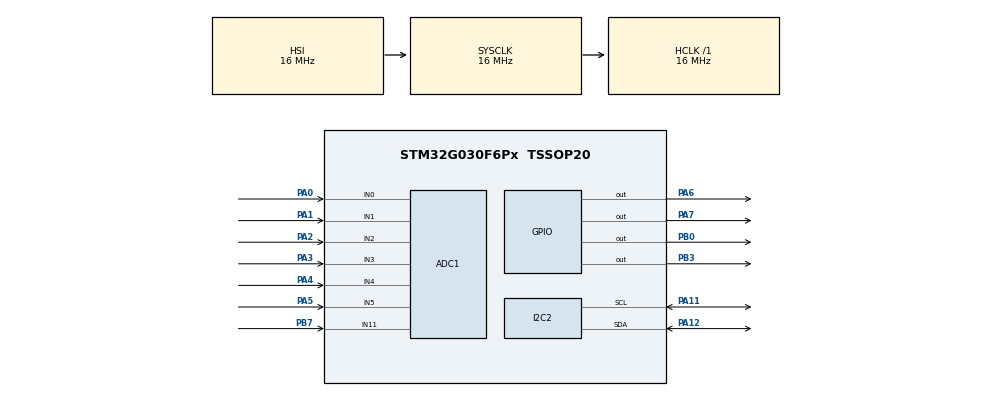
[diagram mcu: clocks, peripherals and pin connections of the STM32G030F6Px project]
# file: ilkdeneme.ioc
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ADC1.Channel-0\#ChannelRegularConversion=ADC_CHANNEL_4
ADC1.NbrOfConversionFlag=1
ADC1.Rank-0\#ChannelRegularConversion=1
ADC1.SamplingTime-0\#ChannelRegularConversion=ADC_SAMPLINGTIME_COMMON_1
ADC1.SelectedChannel=ADC_CHANNEL_0|ADC_CHANNEL_1|ADC_CHANNEL_2|ADC_CHANNEL_3|ADC_CHANNEL_4|ADC_CHANNEL_5|ADC_CHANNEL_11
ADC1.master=1
Mcu.Family=STM32G0
Mcu.Name=STM32G030F6Px
Mcu.Package=TSSOP20
PA0.Mode=IN0
PA0.Signal=ADC1_IN0
PA1.Mode=IN1
PA1.Signal=ADC1_IN1
PA11\ [PA9].Mode=I2C
PA11\ [PA9].Signal=I2C2_SCL
PA12\ [PA10].Mode=I2C
PA12\ [PA10].Signal=I2C2_SDA
PA13.Mode=Serial_Wire
PA13.Signal=SYS_SWDIO
PA14-BOOT0.Mode=Serial_Wire
PA14-BOOT0.Signal=SYS_SWCLK
PA14-BOOT0__PA15.StandardMode=true
PA2.Mode=IN2
PA2.Signal=ADC1_IN2
PA3.Mode=IN3
PA3.Signal=ADC1_IN3
PA4.Signal=SharedAnalog_PA4
PA5.Mode=IN5
PA5.Signal=ADC1_IN5
PA6.Signal=GPIO_Output
PA7.Signal=GPIO_Output
PB0.Signal=GPIO_Output
PB0__PB1__PB2__PA8.StandardMode=true
PB3.Signal=GPIO_Output
PB3__PB4__PB5__PB6.StandardMode=true
PB7.Mode=IN11
PB7.Signal=ADC1_IN11
PB7__PB8.StandardMode=true
PC14-OSC32_IN\ (PC14)__PB9.StandardMode=true
ProjectManager.HeapSize=0x200
ProjectManager.StackSize=0x400
ProjectManager.TargetToolchain=STM32CubeIDE
RCC.AHBFreq_Value=16000000
RCC.CortexFreq_Value=16000000
RCC.EXTERNAL_CLOCK_VALUE=12288000
RCC.HCLKFreq_Value=16000000
RCC.HSE_VALUE=8000000
RCC.HSI_VALUE=16000000
RCC.LSE_VALUE=32768
RCC.SYSCLKFreq_VALUE=16000000
RCC.VCOOutputFreq_Value=128000000
SH.SharedAnalog_PA4.0=GPIO_Analog
SH.SharedAnalog_PA4.1=ADC1_IN4,IN4
board=custom

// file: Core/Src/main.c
/* USER CODE BEGIN Header */
/* USER CODE END Header */
#include "main.h"

/* USER CODE BEGIN Includes */
#include <stdio.h>
/* USER CODE END Includes */

ADC_HandleTypeDef hadc1;

I2C_HandleTypeDef hi2c2;

void SystemClock_Config(void);
static void MX_GPIO_Init(void);
static void MX_ADC1_Init(void);
static void MX_I2C2_Init(void);
/* USER CODE BEGIN PFP */
static uint8_t adc_read_channel(uint32_t channel, uint16_t *raw_value);
static uint8_t adc_read_channel_avg(uint32_t channel, uint8_t samples, uint16_t *raw_avg);
static uint32_t adc_raw_to_millivolt(uint16_t raw);
static uint32_t lv_adc_to_input_millivolt(uint16_t raw);
static uint32_t mv_to_tenths_rounded(uint32_t mv);
static void delay_us_init(void);
static void delay_us(uint32_t us);
static uint8_t ds18b20_crc8(const uint8_t *data, uint8_t len);
static uint8_t ds18b20_start_conversion(void);
static uint8_t ds18b20_read_temp_centi(int16_t *temp_centi);
static uint8_t ads1115_detect_address(void);
static uint8_t ads1115_read_channel_raw_cfg(uint8_t channel, uint16_t pga_cfg, int16_t *raw_value);
static uint8_t ads1115_read_avg_microvolt_cfg(uint8_t channel, uint16_t pga_cfg, int32_t fs_uv, uint32_t *avg_uv);
static uint8_t ads1115_read_avg_microvolt(uint32_t *avg_uv);
static uint8_t lcd_detect_address(void);
static void lcd_init(void);
static void lcd_set_cursor(uint8_t row, uint8_t col);
static void lcd_print(const char *text);
static void lcd_print_centered(uint8_t row, const char *text);
static void lcd_startup_loading_until_ds_ready(void);
static void shdn_softstart(void);
static void buzzer_tone(uint16_t freq_hz, uint16_t duration_ms, uint16_t duty_permille);
static void buzzer_pattern_startup(void);
static void buzzer_pattern_halt(void);
static void buzzer_pattern_system_on(void);
static void buzzer_pattern_system_off(void);
/* USER CODE END PFP */

/* USER CODE BEGIN 0 */
#define LCD_RS_BIT        0x01U
#define LCD_EN_BIT        0x04U
#define LCD_BL_BIT        0x08U
#define LCD_CMD_MODE      0x00U
#define LCD_DATA_MODE     LCD_RS_BIT
#define LCD_I2C_TIMEOUT   5U
#define LCD_DEFAULT_ADDR  (0x27U << 1)
#define ADC_VREF_MV       3300UL
#define ADC_MAX           4095UL
#define LV_DIV_TOP_OHM    47000UL
#define LV_DIV_BOT_OHM    3300UL
#define LV_OFFSET_MV      1500UL
#define LV_PROTECT_MV     30000UL
#define RV_REVERSE_TRIP_MV 3150UL
#define RESET_ADC_TRIP_MV 1500UL
#define ADS1115_DEFAULT_ADDR (0x48U << 1)
#define ADS1115_REG_CONV     0x00U
#define ADS1115_REG_CONFIG   0x01U
#define ADS1115_CFG_OS_SINGLE      0x8000U
#define ADS1115_CFG_PGA_512MV      0x0800U  /* PGA[11:9] = 100 */
#define ADS1115_CFG_MODE_SINGLE    0x0100U
#define ADS1115_CFG_DR_250SPS      0x00A0U
#define ADS1115_CFG_COMP_DISABLE   0x0003U
/* ELV1 donanımı (repodaki şemadan farklı): 2 MOSFET (U1, U6), kanal başına
   0.05R (2 x 0.1R VMS paralel), op-amp OPA2197.
   Kanal başına 5 A x 0.05R = 0.25 V + GND düşümü ~0.05 V -> ±0.512 V
   aralığı yeter (1 LSB = 15.6 uV ~ 0.3 mA). */
#define ADS1115_FS_UV_CURRENT      512000L
#define ADS1115_SAMPLES_PER_CH     8U
/* Takılı MOSFET/şönt kanalları: bit0 = AIN0 (AR0, U1), bit1 = AIN1 (AR1, U6),
   bit2 = AIN2 (AR2, U12), bit3 = AIN3 (AR3, U13). ELV1: U1 + U6 takılı. */
#define CURRENT_ADS_CH_MASK        0x03U
/* Kanal gerilimlerinin TOPLAMI / toplam akım (uV/A). Tek uçlu ölçüm: her
   kanal şönt + ortak GND yolunun düşümünü görür.
     Toplam = I x (Rs + N x Rg)
   Eski 4 MOSFET kalibrasyonundan (tek kanal 29586 uV/A): Rg ~ 4.59 mOhm.
   2 kanal, Rs = 0.05R: 0.05 + 2 x 0.00459 = 0.05917 Ohm.
   (Önceki 2 x 0.1R hali: 109172; kartta doğru okuyordu.)
   Kalibrasyon: yeni = eski x (ekrandaki akım / multimetredeki akım). */
#define CURRENT_UV_PER_A           59172UL
#define CURRENT_TRIP_MA            10000UL
#define POWER_TRIP_MW              160000UL
#define OCP_CONFIRM_COUNT          3U
#define POWER_CONFIRM_COUNT        3U
#define POWER_CHECK_DELAY_MS       500UL
#define SET_V_LOW_CONFIRM_COUNT    2U
/* Boşta tetiklemeyi önlemek için minimum akım eşiği (mA).
   Güç kaynağı çöktüğünde akım yüksektir, boşta ise 0'dır.
   10 mA: düşük akımlı testlerde de voltaj çökmesi yakalanır. */
#define SET_V_LOW_MIN_CURRENT_MA   10UL
#define PROT_PRESENT_THRESHOLD_MV  2500UL
#define UNPROT_PRESENT_THRESHOLD_MV 2000UL
#define PROT_MIN_MV                8000UL
#define SET_V_MAX_MV               30000UL
#define SET_A_MAX_MA               10000UL
#define SET_V_ZERO_DEADBAND_MV     1000UL
#define SET_A_ZERO_DEADBAND_MA     350UL
#define ISET_SCALED_MIN            30UL
#define ISET_SCALED_MAX            118UL
#define ISET_MAX_PERCENT           100UL
#define ISET_ZERO_DEADBAND_PERCENT 1UL
#define DS_GPIO_Port      GPIOB
#define DS_Pin            GPIO_PIN_0
#define FAN_GPIO_Port     GPIOA
#define FAN_Pin           GPIO_PIN_6
#define BUZZER_GPIO_Port  GPIOA
#define BUZZER_Pin        GPIO_PIN_7
#define BUZZER_DUTY_PERMILLE  140U
#define TEMP_FAN_ON_CENTI 5000
#define TEMP_FAN_OFF_CENTI 4000
#define DS18B20_CONV_WAIT_MS 850UL
#define DS18B20_RETRY_COUNT  3U
#define DS18B20_FAIL_FILTER  3U
#define TEMP_TRIP_CENTI   9000
#define SHDN_GPIO_Port    GPIOB
#define SHDN_Pin          GPIO_PIN_3
#define SHDN_SOFTSTART_ENABLE      1U
#define SHDN_SOFTSTART_STEPS       60U
#define SHDN_SOFTSTART_PERIOD_US   2000U
#define SHDN_SOFTSTART_PRIME_US    500U
#define RST_BTN_GPIO_Port GPIOA
#define RST_BTN_Pin       GPIO_PIN_5
#define PROTECT_NONE      0U
#define PROTECT_LV_OV     1U
#define PROTECT_REVERSE   2U
#define PROTECT_TEMP      3U
#define PROTECT_OC        4U
#define PROTECT_LOW_V     5U
#define PROTECT_POWER     6U
#define PROTECT_SET_V_LOW 7U

static uint8_t lcd_addr = LCD_DEFAULT_ADDR;
static uint8_t ads_addr = ADS1115_DEFAULT_ADDR;
static uint8_t us_timer_ready = 0U;

static uint32_t irq_save(void)
{
  uint32_t primask = __get_PRIMASK();
  __disable_irq();
  return primask;
}

static void irq_restore(uint32_t primask)
{
  if (primask == 0U)
  {
    __enable_irq();
  }
}

static void delay_us_init(void)
{
  if (us_timer_ready != 0U)
  {
    return;
  }

  RCC->APBENR2 |= RCC_APBENR2_TIM16EN;
  TIM16->CR1 = 0U;
  TIM16->PSC = (uint16_t)((SystemCoreClock / 1000000U) - 1U);
  TIM16->ARR = 0xFFFFU;
  TIM16->EGR = TIM_EGR_UG;
  TIM16->CNT = 0U;
  TIM16->CR1 = TIM_CR1_CEN;
  us_timer_ready = 1U;
}

static void delay_us(uint32_t us)
{
  uint16_t start;

  if (us == 0U)
  {
    return;
  }

  if (us_timer_ready == 0U)
  {
    delay_us_init();
  }

  start = (uint16_t)TIM16->CNT;
  while ((uint16_t)(TIM16->CNT - start) < (uint16_t)us)
  {
  }
}

static void onewire_drive_low(void)
{
  HAL_GPIO_WritePin(DS_GPIO_Port, DS_Pin, GPIO_PIN_RESET);
}

static void onewire_release(void)
{
  HAL_GPIO_WritePin(DS_GPIO_Port, DS_Pin, GPIO_PIN_SET);
}

static uint8_t onewire_read_pin(void)
{
  return (HAL_GPIO_ReadPin(DS_GPIO_Port, DS_Pin) == GPIO_PIN_SET) ? 1U : 0U;
}

static uint8_t onewire_reset_pulse(void)
{
  uint32_t irq_state;
  uint8_t presence_low;
  uint8_t line_recovered_high;

  onewire_release();
  delay_us(5U);
  if (onewire_read_pin() == 0U)
  {
    return 0U;
  }

  irq_state = irq_save();
  onewire_drive_low();
  delay_us(500U);
  onewire_release();
  delay_us(70U);
  presence_low = (onewire_read_pin() == 0U) ? 1U : 0U;
  delay_us(430U);
  line_recovered_high = (onewire_read_pin() != 0U) ? 1U : 0U;
  irq_restore(irq_state);

  return (uint8_t)((presence_low != 0U) && (line_recovered_high != 0U));
}

static void onewire_write_bit(uint8_t bit)
{
  uint32_t irq_state = irq_save();
  onewire_drive_low();
  if (bit != 0U)
  {
    delay_us(6U);
    onewire_release();
    delay_us(64U);
  }
  else
  {
    delay_us(60U);
    onewire_release();
    delay_us(10U);
  }
  irq_restore(irq_state);
}

static uint8_t onewire_read_bit(void)
{
  uint32_t irq_state = irq_save();
  uint8_t bit;

  onewire_drive_low();
  delay_us(6U);
  onewire_release();
  delay_us(9U);
  bit = onewire_read_pin();
  delay_us(55U);
  irq_restore(irq_state);
  return bit;
}

static void onewire_write_byte(uint8_t data)
{
  uint8_t i;
  for (i = 0U; i < 8U; i++)
  {
    onewire_write_bit((uint8_t)(data & 0x01U));
    data >>= 1;
  }
}

static uint8_t onewire_read_byte(void)
{
  uint8_t i;
  uint8_t data = 0U;

  for (i = 0U; i < 8U; i++)
  {
    data >>= 1;
    if (onewire_read_bit() != 0U)
    {
      data |= 0x80U;
    }
  }
  return data;
}

static uint8_t ds18b20_start_conversion(void)
{
  uint8_t try_idx;

  for (try_idx = 0U; try_idx < DS18B20_RETRY_COUNT; try_idx++)
  {
    if (onewire_reset_pulse() != 0U)
    {
      onewire_write_byte(0xCCU); /* Skip ROM */
      onewire_write_byte(0x44U); /* Convert T */
      return 1U;
    }
    HAL_Delay(2U);
  }

  return 0U;
}

static uint8_t ds18b20_crc8(const uint8_t *data, uint8_t len)
{
  uint8_t crc = 0U;
  uint8_t i;
  uint8_t j;

  for (i = 0U; i < len; i++)
  {
    crc ^= data[i];
    for (j = 0U; j < 8U; j++)
    {
      if ((crc & 0x01U) != 0U)
      {
        crc = (uint8_t)((crc >> 1U) ^ 0x8CU);
      }
      else
      {
        crc >>= 1U;
      }
    }
  }

  return crc;
}

static uint8_t ds18b20_read_temp_centi(int16_t *temp_centi)
{
  uint8_t sp[9];
  uint8_t try_idx;
  uint8_t i;
  uint8_t all_zero;
  uint8_t all_ff;
  int16_t raw;

  for (try_idx = 0U; try_idx < DS18B20_RETRY_COUNT; try_idx++)
  {
    all_zero = 1U;
    all_ff = 1U;

    if (onewire_reset_pulse() == 0U)
    {
      HAL_Delay(1U);
      continue;
    }

    onewire_write_byte(0xCCU); /* Skip ROM */
    onewire_write_byte(0xBEU); /* Read scratchpad */

    for (i = 0U; i < 9U; i++)
    {
      sp[i] = onewire_read_byte();
      if (sp[i] != 0x00U)
      {
        all_zero = 0U;
      }
      if (sp[i] != 0xFFU)
      {
        all_ff = 0U;
      }
    }

    if ((all_zero != 0U) || (all_ff != 0U))
    {
      HAL_Delay(1U);
      continue;
    }

    if (ds18b20_crc8(sp, 8U) != sp[8])
    {
      HAL_Delay(1U);
      continue;
    }

    raw = (int16_t)(((uint16_t)sp[1] << 8) | sp[0]);
    *temp_centi = (int16_t)((raw * 100) / 16);

    if ((*temp_centi < -5500) || (*temp_centi > 12500))
    {
      HAL_Delay(1U);
      continue;
    }

    return 1U;
  }

  return 0U;
}

static void lcd_delay_short(void)
{
  volatile uint32_t wait = 120U;
  while (wait-- > 0U)
  {
    __NOP();
  }
}

static void lcd_expander_write(uint8_t data)
{
  (void)HAL_I2C_Master_Transmit(&hi2c2, lcd_addr, &data, 1U, LCD_I2C_TIMEOUT);
}

static void lcd_write4(uint8_t nibble, uint8_t mode)
{
  uint8_t data = LCD_BL_BIT | mode | ((uint8_t)(nibble & 0x0FU) << 4);

  lcd_expander_write((uint8_t)(data | LCD_EN_BIT));
  lcd_delay_short();
  lcd_expander_write((uint8_t)(data & (uint8_t)~LCD_EN_BIT));
  lcd_delay_short();
}

static void lcd_send(uint8_t value, uint8_t mode)
{
  lcd_write4((uint8_t)(value >> 4), mode);
  lcd_write4((uint8_t)(value & 0x0FU), mode);
  lcd_delay_short();
}

static void lcd_cmd(uint8_t cmd)
{
  lcd_send(cmd, LCD_CMD_MODE);
}

static void lcd_data(uint8_t data)
{
  lcd_send(data, LCD_DATA_MODE);
}

static uint8_t lcd_detect_address(void)
{
  uint8_t addr;

  for (addr = 0x20U; addr <= 0x27U; addr++)
  {
    if (HAL_I2C_IsDeviceReady(&hi2c2, (uint16_t)(addr << 1), 2U, LCD_I2C_TIMEOUT) == HAL_OK)
    {
      return (uint8_t)(addr << 1);
    }
  }

  for (addr = 0x38U; addr <= 0x3FU; addr++)
  {
    if (HAL_I2C_IsDeviceReady(&hi2c2, (uint16_t)(addr << 1), 2U, LCD_I2C_TIMEOUT) == HAL_OK)
    {
      return (uint8_t)(addr << 1);
    }
  }

  return LCD_DEFAULT_ADDR;
}

static void lcd_init(void)
{
  HAL_Delay(50U);
  lcd_write4(0x03U, LCD_CMD_MODE);
  HAL_Delay(5U);
  lcd_write4(0x03U, LCD_CMD_MODE);
  HAL_Delay(5U);
  lcd_write4(0x03U, LCD_CMD_MODE);
  HAL_Delay(1U);
  lcd_write4(0x02U, LCD_CMD_MODE);
  HAL_Delay(1U);

  lcd_cmd(0x28U); /* 4-bit, 2-line mode */
  lcd_cmd(0x08U); /* Display off */
  lcd_cmd(0x01U); /* Clear */
  HAL_Delay(2U);
  lcd_cmd(0x06U); /* Entry mode */
  lcd_cmd(0x0CU); /* Display on, cursor off */
}

static void lcd_set_cursor(uint8_t row, uint8_t col)
{
  static const uint8_t row_offsets[4] = {0x00U, 0x40U, 0x14U, 0x54U};

  if (row > 3U)
  {
    row = 3U;
  }
  if (col > 19U)
  {
    col = 19U;
  }

  lcd_cmd((uint8_t)(0x80U + row_offsets[row] + col));
}

static void lcd_print(const char *text)
{
  while ((*text) != '\0')
  {
    lcd_data((uint8_t)(*text));
    text++;
  }
}

static void lcd_print_centered(uint8_t row, const char *text)
{
  char out[21];
  uint8_t len = 0U;
  uint8_t start;
  uint8_t i;

  if (text == 0)
  {
    text = "";
  }

  while ((text[len] != '\0') && (len < 20U))
  {
    len++;
  }

  for (i = 0U; i < 20U; i++)
  {
    out[i] = ' ';
  }
  out[20] = '\0';
  start = (uint8_t)((20U - len) / 2U);
  for (i = 0U; i < len; i++)
  {
    out[start + i] = text[i];
  }

  lcd_set_cursor(row, 0U);
  lcd_print(out);
}

static void lcd_startup_loading_until_ds_ready(void)
{
  uint8_t step;
  uint8_t bar_fill;
  uint8_t i;
  char bar[21];

  lcd_cmd(0x01U);
  HAL_Delay(2U);
  lcd_print_centered(0U, "ELECTRONIC LOAD V1.0");
  lcd_print_centered(1U, "SYSTEM STARTING");
  lcd_set_cursor(3U, 0U);
  lcd_print("                    ");

  /* 20 adim x 100ms = 2000ms */
  for (step = 0U; step < 20U; step++)
  {
    bar_fill = (uint8_t)(step + 1U);
    for (i = 0U; i < 20U; i++)
    {
      bar[i] = (i < bar_fill) ? (char)0xFF : ' ';
    }
    bar[20] = '\0';
    lcd_set_cursor(2U, 0U);
    lcd_print(bar);
    HAL_Delay(100U);
  }

  buzzer_pattern_startup();

  lcd_cmd(0x01U);
  HAL_Delay(2U);
}

static void shdn_softstart(void)
{
#if (SHDN_SOFTSTART_ENABLE != 0U)
  uint8_t step;
  uint32_t on_us;
  uint32_t off_us;

  /* Start from fully disabled load path. */
  HAL_GPIO_WritePin(SHDN_GPIO_Port, SHDN_Pin, GPIO_PIN_SET);
  delay_us(SHDN_SOFTSTART_PRIME_US);

  for (step = 1U; step <= SHDN_SOFTSTART_STEPS; step++)
  {
    on_us = ((uint32_t)SHDN_SOFTSTART_PERIOD_US * (uint32_t)step) / (uint32_t)SHDN_SOFTSTART_STEPS;
    off_us = (uint32_t)SHDN_SOFTSTART_PERIOD_US - on_us;

    if (on_us > 0U)
    {
      HAL_GPIO_WritePin(SHDN_GPIO_Port, SHDN_Pin, GPIO_PIN_RESET);
      delay_us(on_us);
    }
    if (off_us > 0U)
    {
      HAL_GPIO_WritePin(SHDN_GPIO_Port, SHDN_Pin, GPIO_PIN_SET);
      delay_us(off_us);
    }
  }

  HAL_GPIO_WritePin(SHDN_GPIO_Port, SHDN_Pin, GPIO_PIN_RESET);
#else
  HAL_GPIO_WritePin(SHDN_GPIO_Port, SHDN_Pin, GPIO_PIN_RESET);
#endif
}

static void buzzer_tone(uint16_t freq_hz, uint16_t duration_ms, uint16_t duty_permille)
{
  uint32_t period_us;
  uint32_t on_us;
  uint32_t off_us;
  uint32_t cycles;
  uint32_t i;

  if ((freq_hz == 0U) || (duration_ms == 0U))
  {
    return;
  }

  period_us = 1000000UL / (uint32_t)freq_hz;
  if (period_us < 2UL)
  {
    period_us = 2UL;
  }

  if (duty_permille > 900U)
  {
    duty_permille = 900U;
  }

  on_us = (period_us * (uint32_t)duty_permille) / 1000UL;
  if (on_us == 0U)
  {
    on_us = 1U;
  }
  if (on_us >= period_us)
  {
    on_us = period_us - 1UL;
  }
  off_us = period_us - on_us;
  cycles = (((uint32_t)duration_ms * 1000UL) + (period_us / 2UL)) / period_us;

  for (i = 0U; i < cycles; i++)
  {
    HAL_GPIO_WritePin(BUZZER_GPIO_Port, BUZZER_Pin, GPIO_PIN_SET);
    delay_us(on_us);
    HAL_GPIO_WritePin(BUZZER_GPIO_Port, BUZZER_Pin, GPIO_PIN_RESET);
    delay_us(off_us);
  }

  HAL_GPIO_WritePin(BUZZER_GPIO_Port, BUZZER_Pin, GPIO_PIN_RESET);
}

static void buzzer_pattern_startup(void)
{
  buzzer_tone(1200U, 70U, BUZZER_DUTY_PERMILLE);
  HAL_Delay(25U);
  buzzer_tone(1700U, 90U, BUZZER_DUTY_PERMILLE);
}

static void buzzer_pattern_halt(void)
{
  buzzer_tone(1900U, 55U, BUZZER_DUTY_PERMILLE);
  HAL_Delay(25U);
  buzzer_tone(1400U, 70U, BUZZER_DUTY_PERMILLE);
  HAL_Delay(25U);
  buzzer_tone(1000U, 90U, BUZZER_DUTY_PERMILLE);
}

static void buzzer_pattern_system_on(void)
{
  buzzer_tone(1700U, 65U, BUZZER_DUTY_PERMILLE);
}

static void buzzer_pattern_system_off(void)
{
  buzzer_tone(900U, 80U, BUZZER_DUTY_PERMILLE);
}

static uint8_t adc_read_channel(uint32_t channel, uint16_t *raw_value)
{
  ADC_ChannelConfTypeDef sConfig = {0};

  sConfig.Channel = channel;
  sConfig.Rank = ADC_REGULAR_RANK_1;
  sConfig.SamplingTime = ADC_SAMPLINGTIME_COMMON_1;
  if (HAL_ADC_ConfigChannel(&hadc1, &sConfig) != HAL_OK)
  {
    return 0U;
  }

  /* Dummy conversion after channel switch for settling */
  if (HAL_ADC_Start(&hadc1) != HAL_OK)
  {
    return 0U;
  }
  if (HAL_ADC_PollForConversion(&hadc1, 10U) != HAL_OK)
  {
    (void)HAL_ADC_Stop(&hadc1);
    return 0U;
  }
  (void)HAL_ADC_GetValue(&hadc1);
  (void)HAL_ADC_Stop(&hadc1);

  if (HAL_ADC_Start(&hadc1) != HAL_OK)
  {
    return 0U;
  }

  if (HAL_ADC_PollForConversion(&hadc1, 10U) != HAL_OK)
  {
    (void)HAL_ADC_Stop(&hadc1);
    return 0U;
  }

  *raw_value = (uint16_t)HAL_ADC_GetValue(&hadc1);
  (void)HAL_ADC_Stop(&hadc1);
  return 1U;
}

static uint8_t adc_read_channel_avg(uint32_t channel, uint8_t samples, uint16_t *raw_avg)
{
  uint8_t i;
  uint16_t raw = 0U;
  uint32_t sum = 0U;

  if ((samples == 0U) || (raw_avg == NULL))
  {
    return 0U;
  }

  for (i = 0U; i < samples; i++)
  {
    if (adc_read_channel(channel, &raw) == 0U)
    {
      return 0U;
    }
    sum += raw;
  }

  *raw_avg = (uint16_t)((sum + ((uint32_t)samples / 2UL)) / (uint32_t)samples);
  return 1U;
}

static uint32_t adc_raw_to_millivolt(uint16_t raw)
{
  return (((uint32_t)raw * ADC_VREF_MV) + (ADC_MAX / 2UL)) / ADC_MAX;
}

/* Ham ADC değerinden doğrudan giriş gerilimine; ara adımda yuvarlama kaybı olmasın diye 64 bit. */
static uint32_t lv_adc_to_input_millivolt(uint16_t raw)
{
  uint64_t num = (uint64_t)raw * ADC_VREF_MV * (LV_DIV_TOP_OHM + LV_DIV_BOT_OHM);
  uint64_t den = (uint64_t)ADC_MAX * LV_DIV_BOT_OHM;
  return (uint32_t)((num + (den / 2ULL)) / den);
}

/* Ekranda 0.1 V çözünürlük için yuvarlanmış onda birler (4.96 V -> 50 -> "5.0") */
static uint32_t mv_to_tenths_rounded(uint32_t mv)
{
  return (mv + 50UL) / 100UL;
}

static uint8_t ads1115_detect_address(void)
{
  uint8_t addr;

  for (addr = 0x48U; addr <= 0x4BU; addr++)
  {
    if (HAL_I2C_IsDeviceReady(&hi2c2, (uint16_t)(addr << 1), 2U, LCD_I2C_TIMEOUT) == HAL_OK)
    {
      return (uint8_t)(addr << 1);
    }
  }

  return ADS1115_DEFAULT_ADDR;
}

static uint8_t ads1115_read_channel_raw_cfg(uint8_t channel, uint16_t pga_cfg, int16_t *raw_value)
{
  uint8_t tx[3];
  uint8_t rx[2];
  uint16_t config;
  uint16_t cfg_read = 0U;
  uint8_t i;

  if (channel > 3U)
  {
    return 0U;
  }

  config = (uint16_t)(ADS1115_CFG_OS_SINGLE |
                      ((uint16_t)(0x04U + channel) << 12) |
                      pga_cfg |
                      ADS1115_CFG_MODE_SINGLE |
                      ADS1115_CFG_DR_250SPS |
                      ADS1115_CFG_COMP_DISABLE);

  tx[0] = ADS1115_REG_CONFIG;
  tx[1] = (uint8_t)(config >> 8);
  tx[2] = (uint8_t)(config & 0xFFU);
  if (HAL_I2C_Master_Transmit(&hi2c2, ads_addr, tx, 3U, 20U) != HAL_OK)
  {
    return 0U;
  }

  for (i = 0U; i < 20U; i++)
  {
    tx[0] = ADS1115_REG_CONFIG;
    if (HAL_I2C_Master_Transmit(&hi2c2, ads_addr, tx, 1U, 20U) != HAL_OK)
    {
      return 0U;
    }
    if (HAL_I2C_Master_Receive(&hi2c2, ads_addr, rx, 2U, 20U) != HAL_OK)
    {
      return 0U;
    }
    cfg_read = (uint16_t)(((uint16_t)rx[0] << 8) | rx[1]);
    if ((cfg_read & 0x8000U) != 0U)
    {
      break;
    }
    HAL_Delay(1U);
  }

  tx[0] = ADS1115_REG_CONV;
  if (HAL_I2C_Master_Transmit(&hi2c2, ads_addr, tx, 1U, 20U) != HAL_OK)
  {
    return 0U;
  }
  if (HAL_I2C_Master_Receive(&hi2c2, ads_addr, rx, 2U, 20U) != HAL_OK)
  {
    return 0U;
  }

  *raw_value = (int16_t)(((uint16_t)rx[0] << 8) | rx[1]);
  return 1U;
}

static uint8_t ads1115_read_avg_microvolt_cfg(uint8_t channel, uint16_t pga_cfg, int32_t fs_uv, uint32_t *avg_uv)
{
  int16_t raw = 0;
  int32_t sum = 0;
  uint8_t n;
  int32_t avg_raw;

  for (n = 0U; n < ADS1115_SAMPLES_PER_CH; n++)
  {
    if (ads1115_read_channel_raw_cfg(channel, pga_cfg, &raw) == 0U)
    {
      return 0U;
    }

    if (raw < 0)
    {
      raw = 0;
    }
    sum += raw;
  }

  avg_raw = sum / (int32_t)ADS1115_SAMPLES_PER_CH;
  *avg_uv = (uint32_t)(((uint64_t)avg_raw * (uint64_t)fs_uv) / 32767ULL);
  return 1U;
}

/* Takılı kanalların ortalama gerilimlerini toplar (uV). */
static uint8_t ads1115_read_avg_microvolt(uint32_t *avg_uv)
{
  uint8_t ch;
  uint32_t ch_uv = 0U;
  uint32_t sum_uv = 0U;

  for (ch = 0U; ch < 4U; ch++)
  {
    if ((CURRENT_ADS_CH_MASK & (1U << ch)) == 0U)
    {
      continue;
    }
    if (ads1115_read_avg_microvolt_cfg(ch, ADS1115_CFG_PGA_512MV, ADS1115_FS_UV_CURRENT, &ch_uv) == 0U)
    {
      return 0U;
    }
    sum_uv += ch_uv;
  }

  *avg_uv = sum_uv;
  return 1U;
}
/* USER CODE END 0 */

int main(void)
{

  /* MCU Configuration--------------------------------------------------------*/

  /* Reset of all peripherals, Initializes the Flash interface and the Systick. */
  HAL_Init();

  /* Configure the system clock */
  SystemClock_Config();

  /* Initialize all configured peripherals */
  MX_GPIO_Init();
  MX_ADC1_Init();
  MX_I2C2_Init();
  /* USER CODE BEGIN 2 */
  lcd_addr = lcd_detect_address();
  lcd_init();
  lcd_cmd(0x01U);
  HAL_Delay(2U);
  ads_addr = ads1115_detect_address();
  delay_us_init();
  HAL_GPIO_WritePin(FAN_GPIO_Port, FAN_Pin, GPIO_PIN_RESET);
  HAL_GPIO_WritePin(DS_GPIO_Port, DS_Pin, GPIO_PIN_SET);
  lcd_startup_loading_until_ds_ready();
  /* USER CODE END 2 */

  /* Infinite loop */
  while (1)
  {

    /* USER CODE BEGIN 3 */
    static uint8_t protect_latched = 0U;
    static uint8_t protect_reason = PROTECT_NONE;
    static uint32_t protect_trip_value = 0U;
    static uint8_t reset_btn_prev_above = 0U;
    static uint8_t ds_state = 0U;
    static uint32_t ds_tick_ms = 0U;
    static int16_t temp_centi = 0;
    static uint8_t temp_valid = 0U;
    static uint8_t ds_fail_count = 0U;
    static uint8_t fan_on = 0U;
    static uint8_t oc_over_count = 0U;
    static uint8_t power_over_count = 0U;
    static uint8_t set_v_low_count = 0U;
    static uint8_t startup_lock = 1U;
    static uint8_t system_off = 0U;
    static uint8_t protect_latched_prev = 0U;
    static uint8_t rv_low_count = 0U;
    static uint32_t system_on_tick_ms = 0U;
    uint16_t raw_reset = 0U;
    uint16_t raw_rev = 0U;
    uint16_t raw_lv = 0U;
    uint16_t raw_unprot = 0U;
    uint16_t raw_pot = 0U;
    uint16_t raw_set_v = 0U;
    uint16_t raw_set_a = 0U;
    uint32_t reset_mv = 0U;
    uint32_t rev_mv = 0U;
    uint32_t lv_in_mv;
    uint32_t set_v_mv;
    uint32_t set_a_ma;
    uint32_t current_trip_ma;
    uint32_t pot_scaled;
    uint32_t iset_percent;
    uint32_t unprot_in_mv = 0U;
    uint32_t act_v_mv = 0U;
    uint32_t ads_avg_uv = 0U;
    uint32_t current_ma = 0U;
    uint32_t power_mw = 0U;
    uint8_t ads_ok = 0U;
    uint8_t unprot_ok = 0U;
    uint8_t prot_present = 0U;
    uint8_t unprot_present = 0U;
    uint8_t input_present = 0U;
    uint8_t source_protected = 1U;
    uint8_t set_pots_zero = 0U;
    const char *system_text;
    uint8_t reset_btn_above = 0U;
    uint8_t reset_edge = 0U;
    uint8_t run_softstart = 0U;
    uint32_t now_ms;
    int16_t t_abs;
    char line[21];

    /* Reset button by ADC threshold: 1.5V ustu = basildi */
    if (adc_read_channel(ADC_CHANNEL_5, &raw_reset) != 0U)
    {
      reset_mv = adc_raw_to_millivolt(raw_reset);
      reset_btn_above = (reset_mv >= RESET_ADC_TRIP_MV) ? 1U : 0U;
      if ((reset_btn_prev_above == 0U) && (reset_btn_above != 0U))
      {
        HAL_Delay(20U);
        if (adc_read_channel(ADC_CHANNEL_5, &raw_reset) != 0U)
        {
          reset_mv = adc_raw_to_millivolt(raw_reset);
          if (reset_mv >= RESET_ADC_TRIP_MV)
          {
            reset_edge = 1U;
          }
        }
      }
      reset_btn_prev_above = reset_btn_above;
    }
    now_ms = HAL_GetTick();

    if (ds_state == 0U)
    {
      if (ds18b20_start_conversion() != 0U)
      {
        ds_state = 1U;
        ds_tick_ms = now_ms;
      }
      else
      {
        if (ds_fail_count < 255U)
        {
          ds_fail_count++;
        }
        if (ds_fail_count >= DS18B20_FAIL_FILTER)
        {
          temp_valid = 0U;
        }
      }
    }
    else if ((now_ms - ds_tick_ms) >= DS18B20_CONV_WAIT_MS)
    {
      if (ds18b20_read_temp_centi(&temp_centi) != 0U)
      {
        temp_valid = 1U;
        ds_fail_count = 0U;
      }
      else
      {
        if (ds_fail_count < 255U)
        {
          ds_fail_count++;
        }
        if (ds_fail_count >= DS18B20_FAIL_FILTER)
        {
          temp_valid = 0U;
        }
      }
      ds_state = 0U;
    }

    if ((adc_read_channel(ADC_CHANNEL_0, &raw_rev) == 0U) ||
        (adc_read_channel_avg(ADC_CHANNEL_1, 4U, &raw_lv) == 0U) ||
        (adc_read_channel_avg(ADC_CHANNEL_11, 4U, &raw_unprot) == 0U) ||
        (adc_read_channel(ADC_CHANNEL_2, &raw_pot) == 0U) ||
        (adc_read_channel(ADC_CHANNEL_3, &raw_set_v) == 0U) ||
        (adc_read_channel(ADC_CHANNEL_4, &raw_set_a) == 0U))
    {
      lcd_set_cursor(0U, 0U);
      lcd_print("ADC READ ERROR      ");
      HAL_Delay(20U);
      continue;
    }

    lv_in_mv = lv_adc_to_input_millivolt(raw_lv);
    if (lv_in_mv > LV_OFFSET_MV)
    {
      lv_in_mv -= LV_OFFSET_MV;
    }
    else
    {
      lv_in_mv = 0U;
    }
    rev_mv = adc_raw_to_millivolt(raw_rev);
    set_v_mv = (((uint32_t)raw_set_v * SET_V_MAX_MV) + (ADC_MAX / 2UL)) / ADC_MAX;
    set_a_ma = (((uint32_t)raw_set_a * SET_A_MAX_MA) + (ADC_MAX / 2UL)) / ADC_MAX;
    if (set_v_mv <= SET_V_ZERO_DEADBAND_MV)
    {
      set_v_mv = 0U;
    }
    else
    {
      set_v_mv = ((set_v_mv - SET_V_ZERO_DEADBAND_MV) * SET_V_MAX_MV + ((SET_V_MAX_MV - SET_V_ZERO_DEADBAND_MV) / 2UL))
                 / (SET_V_MAX_MV - SET_V_ZERO_DEADBAND_MV);
    }
    if (set_a_ma <= SET_A_ZERO_DEADBAND_MA)
    {
      set_a_ma = 0U;
    }
    else
    {
      set_a_ma = ((set_a_ma - SET_A_ZERO_DEADBAND_MA) * SET_A_MAX_MA + ((SET_A_MAX_MA - SET_A_ZERO_DEADBAND_MA) / 2UL))
                 / (SET_A_MAX_MA - SET_A_ZERO_DEADBAND_MA);
    }
    pot_scaled = (((uint32_t)raw_pot * 1000UL) + (ADC_MAX / 2UL)) / ADC_MAX;
    if (pot_scaled <= ISET_SCALED_MIN)
    {
      iset_percent = 0U;
    }
    else if (pot_scaled >= ISET_SCALED_MAX)
    {
      iset_percent = ISET_MAX_PERCENT;
    }
    else
    {
      iset_percent = ((pot_scaled - ISET_SCALED_MIN) * ISET_MAX_PERCENT + ((ISET_SCALED_MAX - ISET_SCALED_MIN) / 2UL))
                     / (ISET_SCALED_MAX - ISET_SCALED_MIN);
    }
    if (iset_percent <= ISET_ZERO_DEADBAND_PERCENT)
    {
      iset_percent = 0U;
    }

    unprot_in_mv = lv_adc_to_input_millivolt(raw_unprot);
    unprot_ok = 1U;
    prot_present = (lv_in_mv >= PROT_PRESENT_THRESHOLD_MV) ? 1U : 0U;
    unprot_present = ((unprot_ok != 0U) && (unprot_in_mv >= UNPROT_PRESENT_THRESHOLD_MV)) ? 1U : 0U;
    input_present = (uint8_t)(((prot_present != 0U) || (unprot_present != 0U)) ? 1U : 0U);
    if ((prot_present != 0U) && (unprot_present != 0U))
    {
      source_protected = 1U;
    }
    else if ((prot_present == 0U) && (unprot_present != 0U))
    {
      source_protected = 0U;
    }
    else if (prot_present != 0U)
    {
      source_protected = 1U;
    }
    else
    {
      source_protected = 0U;
    }
    if ((prot_present == 0U) && (unprot_present == 0U))
    {
      act_v_mv = 0U;
    }
    else
    {
      act_v_mv = (source_protected != 0U) ? lv_in_mv : unprot_in_mv;
    }

    current_trip_ma = set_a_ma;
    if (current_trip_ma > CURRENT_TRIP_MA)
    {
      current_trip_ma = CURRENT_TRIP_MA;
    }
    set_pots_zero = (uint8_t)(((iset_percent == 0U) && (set_v_mv == 0U) && (set_a_ma == 0U)) ? 1U : 0U);

    /* 1. TERS POLARİTE KONTROLÜ (En yüksek öncelik) */
    if ((protect_latched == 0U) && (rev_mv <= RV_REVERSE_TRIP_MV))
    {
      if (rv_low_count < 255U)
      {
        rv_low_count++;
      }
      if (rv_low_count >= 1U)
      {
        protect_latched = 1U;
        protect_reason = PROTECT_REVERSE;
        protect_trip_value = rev_mv;
      }
    }
    else
    {
      rv_low_count = 0U;
    }

    if (startup_lock != 0U)
    {
      HAL_GPIO_WritePin(SHDN_GPIO_Port, SHDN_Pin, GPIO_PIN_SET);
      HAL_GPIO_WritePin(FAN_GPIO_Port, FAN_Pin, GPIO_PIN_RESET);
      if ((set_pots_zero != 0U) && (reset_edge != 0U))
      {
        startup_lock = 0U;
        protect_latched = 0U;
        protect_reason = PROTECT_NONE;
        protect_trip_value = 0U;
        oc_over_count = 0U;
        power_over_count = 0U;
        set_v_low_count = 0U;
        system_off = 0U;
        system_on_tick_ms = now_ms;
        run_softstart = 1U;
        buzzer_pattern_system_on();
        reset_edge = 0U;
      }
      else
      {
        lcd_set_cursor(0U, 0U);
        lcd_print("STARTUP LOCK        ");
        if (set_pots_zero != 0U)
        {
          lcd_set_cursor(1U, 0U);
          lcd_print("PRESS RESET TO RUN  ");
        }
        else
        {
          lcd_set_cursor(1U, 0U);
          lcd_print("SET POTS TO ZERO    ");
        }
        snprintf(line, sizeof(line), "ISET:%3lu V:%2lu.%01lu   ",
                 iset_percent,
                 mv_to_tenths_rounded(set_v_mv) / 10UL,
                 mv_to_tenths_rounded(set_v_mv) % 10UL);
        lcd_set_cursor(2U, 0U);
        lcd_print(line);
        snprintf(line, sizeof(line), "A:%2lu.%02lu WAIT RESET  ",
                 set_a_ma / 1000UL,
                 (set_a_ma % 1000UL) / 10UL);
        lcd_set_cursor(3U, 0U);
        lcd_print(line);
        HAL_Delay(80U);
        continue;
      }
    }

    if (reset_edge != 0U)
    {
      if (protect_latched != 0U)
      {
        protect_latched = 0U;
        protect_reason = PROTECT_NONE;
        protect_trip_value = 0U;
        oc_over_count = 0U;
        power_over_count = 0U;
        set_v_low_count = 0U;
        system_off = 0U;
        system_on_tick_ms = now_ms;
        run_softstart = 1U;
        buzzer_pattern_system_on();
      }
      else
      {
        if (system_off != 0U)
        {
          system_off = 0U;
          system_on_tick_ms = now_ms;
          run_softstart = 1U;
          buzzer_pattern_system_on();
        }
        else
        {
          system_off = 1U;
          power_over_count = 0U;
          set_v_low_count = 0U;
          buzzer_pattern_system_off();
        }
      }
    }

    if ((run_softstart != 0U) && (system_off == 0U) && (protect_latched == 0U))
    {
      shdn_softstart();
    }

    /* 2. AŞIRI AKIM KONTROLÜ (İkinci öncelik) */
    if (protect_latched == 0U)
    {
      ads_ok = ads1115_read_avg_microvolt(&ads_avg_uv);
      if (ads_ok != 0U)
      {
        current_ma = (uint32_t)(((ads_avg_uv * 1000UL) + (CURRENT_UV_PER_A / 2UL)) / CURRENT_UV_PER_A);
        if ((system_off == 0U) && (protect_latched == 0U) && (input_present != 0U) && (current_ma > current_trip_ma))
        {
          if (oc_over_count < 255U)
          {
            oc_over_count++;
          }
          if (oc_over_count >= OCP_CONFIRM_COUNT)
          {
            protect_latched = 1U;
            protect_reason = PROTECT_OC;
            protect_trip_value = current_ma;
          }
        }
        else
        {
          oc_over_count = 0U;
        }
      }
      else
      {
        current_ma = 0U;
        oc_over_count = 0U;
      }
    }
    else
    {
      ads_ok = 0U;
      current_ma = 0U;
      oc_over_count = 0U;
    }

    /* 3. SET_V < ACT_V KONTROLÜ (Üçüncü öncelik) */
    /* Güç kaynağı akım limitine girip voltaj çökerttiğinde (0V olsa bile) tetiklenmesi için
       akımın belirli bir eşiğin üzerinde olması şartı eklendi. Boşta iken tetiklemeyi önler. */
    if ((system_off == 0U) && (protect_latched == 0U) && (set_v_mv > 0U))
    {
      if ((act_v_mv < set_v_mv) && (current_ma > SET_V_LOW_MIN_CURRENT_MA))
      {
        if (set_v_low_count < 255U)
        {
          set_v_low_count++;
        }
        if (set_v_low_count >= SET_V_LOW_CONFIRM_COUNT)
        {
          protect_latched = 1U;
          protect_reason = PROTECT_SET_V_LOW;
          protect_trip_value = act_v_mv;
        }
      }
      else
      {
        set_v_low_count = 0U;
      }
    }
    else
    {
      set_v_low_count = 0U;
    }

    /* 4. AŞIRI VOLTAJ KONTROLÜ */
    if ((system_off == 0U) && (protect_latched == 0U))
    {
      if (act_v_mv > LV_PROTECT_MV)
      {
        protect_latched = 1U;
        protect_reason = PROTECT_LV_OV;
        protect_trip_value = act_v_mv;
      }
    }

    power_mw = (act_v_mv * current_ma) / 1000UL;

    /* 5. AŞIRI GÜÇ KONTROLÜ */
    if ((system_off == 0U) && (protect_latched == 0U) &&
        (input_present != 0U) && (ads_ok != 0U) &&
        ((now_ms - system_on_tick_ms) >= POWER_CHECK_DELAY_MS) &&
        (power_mw > POWER_TRIP_MW))
    {
      if (power_over_count < 255U)
      {
        power_over_count++;
      }
      if (power_over_count >= POWER_CONFIRM_COUNT)
      {
        protect_latched = 1U;
        protect_reason = PROTECT_POWER;
        protect_trip_value = power_mw;
      }
    }
    else
    {
      power_over_count = 0U;
    }

    /* 6. SICAKLIK KONTROLÜ */
    if (temp_valid != 0U)
    {
      if ((fan_on == 0U) && (temp_centi >= TEMP_FAN_ON_CENTI))
      {
        fan_on = 1U;
      }
      else if ((fan_on != 0U) && (temp_centi <= TEMP_FAN_OFF_CENTI))
      {
        fan_on = 0U;
      }
    }

    if ((system_off == 0U) && (temp_valid != 0U) && (protect_latched == 0U) && (temp_centi >= TEMP_TRIP_CENTI))
    {
      protect_latched = 1U;
      protect_reason = PROTECT_TEMP;
      protect_trip_value = (uint32_t)temp_centi;
    }

    if ((protect_latched != 0U) && (protect_latched_prev == 0U))
    {
      buzzer_pattern_halt();
    }
    protect_latched_prev = protect_latched;

    HAL_GPIO_WritePin(SHDN_GPIO_Port, SHDN_Pin,
                      ((protect_latched != 0U) || (system_off != 0U)) ? GPIO_PIN_SET : GPIO_PIN_RESET);

    HAL_GPIO_WritePin(FAN_GPIO_Port, FAN_Pin, (fan_on != 0U) ? GPIO_PIN_SET : GPIO_PIN_RESET);

    if (protect_latched != 0U)
    {
      lcd_set_cursor(0U, 0U);
      lcd_print("                    ");
      lcd_print_centered(1U, "SYSTEM HALTED");
      if (protect_reason == PROTECT_LV_OV)
      {
        snprintf(line, sizeof(line), "HIGH VOLTAGE %2lu.%01luV",
                 mv_to_tenths_rounded(protect_trip_value) / 10UL,
                 mv_to_tenths_rounded(protect_trip_value) % 10UL);
      }
      else if (protect_reason == PROTECT_OC)
      {
        snprintf(line, sizeof(line), "OVER CURRENT %2lu.%02luA",
                 protect_trip_value / 1000UL,
                 (protect_trip_value % 1000UL) / 10UL);
      }
      else if (protect_reason == PROTECT_TEMP)
      {
        snprintf(line, sizeof(line), "HIGH TEMP %2lu.%01luC",
                 protect_trip_value / 100UL,
                 (protect_trip_value % 100UL) / 10UL);
      }
      else if (protect_reason == PROTECT_REVERSE)
      {
        snprintf(line, sizeof(line), "REVERSE VOLTAGE");
      }
      else if (protect_reason == PROTECT_POWER)
      {
        snprintf(line, sizeof(line), "OVER POWER %3lu.%01luW",
                 protect_trip_value / 1000UL,
                 (protect_trip_value % 1000UL) / 100UL);
      }
      else if (protect_reason == PROTECT_SET_V_LOW)
      {
        snprintf(line, sizeof(line), "V DROP %2lu.%01luV",
                 mv_to_tenths_rounded(protect_trip_value) / 10UL,
                 mv_to_tenths_rounded(protect_trip_value) % 10UL);
      }
      else
      {
        snprintf(line, sizeof(line), "PROTECTION ACTIVE");
      }
      lcd_print_centered(2U, line);
      lcd_set_cursor(3U, 0U);
      lcd_print("                    ");
      HAL_Delay(80U);
      continue;
    }

    snprintf(line, sizeof(line), "SET:%2lu.%01luV %2lu.%02luA   ",
             mv_to_tenths_rounded(set_v_mv) / 10UL,
             mv_to_tenths_rounded(set_v_mv) % 10UL,
             set_a_ma / 1000UL,
             (set_a_ma % 1000UL) / 10UL);
    lcd_set_cursor(0U, 0U);
    lcd_print(line);

    if (ads_ok != 0U)
    {
      snprintf(line, sizeof(line), "ACT:%2lu.%01luV %2lu.%02luA   ",
               mv_to_tenths_rounded(act_v_mv) / 10UL,
               mv_to_tenths_rounded(act_v_mv) % 10UL,
               current_ma / 1000UL,
               (current_ma % 1000UL) / 10UL);
    }
    else
    {
      snprintf(line, sizeof(line), "ACT:%2lu.%01luV  ---.--A   ",
               mv_to_tenths_rounded(act_v_mv) / 10UL,
               mv_to_tenths_rounded(act_v_mv) % 10UL);
    }
    lcd_set_cursor(1U, 0U);
    lcd_print(line);

    snprintf(line, sizeof(line), "PWR:%3lu.%01luW ISET:%3lu ",
             power_mw / 1000UL,
             (power_mw % 1000UL) / 100UL,
             iset_percent);
    lcd_set_cursor(2U, 0U);
    lcd_print(line);

    system_text = (system_off != 0U) ? "OFF" : "ON";
    if (temp_centi < 0)
    {
      t_abs = (int16_t)(-temp_centi);
    }
    else
    {
      t_abs = temp_centi;
    }
    if (temp_valid != 0U)
    {
      snprintf(line, sizeof(line), "DS:%c%2d.%01dC SYSTEM:%-3s",
               (temp_centi < 0) ? '-' : '+',
               t_abs / 100,
               (t_abs % 100) / 10,
               system_text);
    }
    else
    {
      snprintf(line, sizeof(line), "DS:  SE   SYSTEM:%-3s", system_text);
    }
    lcd_set_cursor(3U, 0U);
    lcd_print(line);

    HAL_Delay(40U);
  }
  /* USER CODE END 3 */
}

void SystemClock_Config(void)
{
  RCC_OscInitTypeDef RCC_OscInitStruct = {0};
  RCC_ClkInitTypeDef RCC_ClkInitStruct = {0};

  /** Configure the main internal regulator output voltage
  */
  HAL_PWREx_ControlVoltageScaling(PWR_REGULATOR_VOLTAGE_SCALE1);

  /** Initializes the RCC Oscillators according to the specified parameters
  * in the RCC_OscInitTypeDef structure.
  */
  RCC_OscInitStruct.OscillatorType = RCC_OSCILLATORTYPE_HSI;
  RCC_OscInitStruct.HSIState = RCC_HSI_ON;
  RCC_OscInitStruct.HSIDiv = RCC_HSI_DIV1;
  RCC_OscInitStruct.HSICalibrationValue = RCC_HSICALIBRATION_DEFAULT;
  RCC_OscInitStruct.PLL.PLLState = RCC_PLL_NONE;
  if (HAL_RCC_OscConfig(&RCC_OscInitStruct) != HAL_OK)
  {
    Error_Handler();
  }

  /** Initializes the CPU, AHB and APB buses clocks
  */
  RCC_ClkInitStruct.ClockType = RCC_CLOCKTYPE_HCLK|RCC_CLOCKTYPE_SYSCLK
                              |RCC_CLOCKTYPE_PCLK1;
  RCC_ClkInitStruct.SYSCLKSource = RCC_SYSCLKSOURCE_HSI;
  RCC_ClkInitStruct.AHBCLKDivider = RCC_SYSCLK_DIV1;
  RCC_ClkInitStruct.APB1CLKDivider = RCC_HCLK_DIV1;

  if (HAL_RCC_ClockConfig(&RCC_ClkInitStruct, FLASH_LATENCY_0) != HAL_OK)
  {
    Error_Handler();
  }
}

static void MX_ADC1_Init(void)
{

  ADC_ChannelConfTypeDef sConfig = {0};

  /** Configure the global features of the ADC (Clock, Resolution, Data Alignment and number of conversion)
  */
  hadc1.Instance = ADC1;
  hadc1.Init.ClockPrescaler = ADC_CLOCK_SYNC_PCLK_DIV2;
  hadc1.Init.Resolution = ADC_RESOLUTION_12B;
  hadc1.Init.DataAlign = ADC_DATAALIGN_RIGHT;
  hadc1.Init.ScanConvMode = ADC_SCAN_DISABLE;
  hadc1.Init.EOCSelection = ADC_EOC_SINGLE_CONV;
  hadc1.Init.LowPowerAutoWait = DISABLE;
  hadc1.Init.LowPowerAutoPowerOff = DISABLE;
  hadc1.Init.ContinuousConvMode = DISABLE;
  hadc1.Init.NbrOfConversion = 1;
  hadc1.Init.DiscontinuousConvMode = DISABLE;
  hadc1.Init.ExternalTrigConv = ADC_SOFTWARE_START;
  hadc1.Init.ExternalTrigConvEdge = ADC_EXTERNALTRIGCONVEDGE_NONE;
  hadc1.Init.DMAContinuousRequests = DISABLE;
  hadc1.Init.Overrun = ADC_OVR_DATA_PRESERVED;
  hadc1.Init.SamplingTimeCommon1 = ADC_SAMPLETIME_79CYCLES_5;
  hadc1.Init.SamplingTimeCommon2 = ADC_SAMPLETIME_79CYCLES_5;
  hadc1.Init.OversamplingMode = DISABLE;
  hadc1.Init.TriggerFrequencyMode = ADC_TRIGGER_FREQ_HIGH;
  if (HAL_ADC_Init(&hadc1) != HAL_OK)
  {
    Error_Handler();
  }

  /** Configure Regular Channel
  */
  sConfig.Channel = ADC_CHANNEL_4;
  sConfig.Rank = ADC_REGULAR_RANK_1;
  sConfig.SamplingTime = ADC_SAMPLINGTIME_COMMON_1;
  if (HAL_ADC_ConfigChannel(&hadc1, &sConfig) != HAL_OK)
  {
    Error_Handler();
  }

}

static void MX_I2C2_Init(void)
{

  hi2c2.Instance = I2C2;
  hi2c2.Init.Timing = 0x00303D5B;
  hi2c2.Init.OwnAddress1 = 0;
  hi2c2.Init.AddressingMode = I2C_ADDRESSINGMODE_7BIT;
  hi2c2.Init.DualAddressMode = I2C_DUALADDRESS_DISABLE;
  hi2c2.Init.OwnAddress2 = 0;
  hi2c2.Init.OwnAddress2Masks = I2C_OA2_NOMASK;
  hi2c2.Init.GeneralCallMode = I2C_GENERALCALL_DISABLE;
  hi2c2.Init.NoStretchMode = I2C_NOSTRETCH_DISABLE;
  if (HAL_I2C_Init(&hi2c2) != HAL_OK)
  {
    Error_Handler();
  }

  /** Configure Analogue filter
  */
  if (HAL_I2CEx_ConfigAnalogFilter(&hi2c2, I2C_ANALOGFILTER_ENABLE) != HAL_OK)
  {
    Error_Handler();
  }

  /** Configure Digital filter
  */
  if (HAL_I2CEx_ConfigDigitalFilter(&hi2c2, 0) != HAL_OK)
  {
    Error_Handler();
  }

}

static void MX_GPIO_Init(void)
{
  GPIO_InitTypeDef GPIO_InitStruct = {0};

  /* GPIO Ports Clock Enable */
  __HAL_RCC_GPIOB_CLK_ENABLE();
  __HAL_RCC_GPIOA_CLK_ENABLE();

  /*Configure GPIO pin Output Level */
  HAL_GPIO_WritePin(GPIOA, GPIO_PIN_6|GPIO_PIN_7, GPIO_PIN_RESET);

  /*Configure GPIO pin Output Level */
  HAL_GPIO_WritePin(GPIOB, GPIO_PIN_0|GPIO_PIN_3, GPIO_PIN_RESET);

  /*Configure GPIO pins : PA6 PA7 */
  GPIO_InitStruct.Pin = GPIO_PIN_6|GPIO_PIN_7;
  GPIO_InitStruct.Mode = GPIO_MODE_OUTPUT_PP;
  GPIO_InitStruct.Pull = GPIO_NOPULL;
  GPIO_InitStruct.Speed = GPIO_SPEED_FREQ_LOW;
  HAL_GPIO_Init(GPIOA, &GPIO_InitStruct);

  /*Configure GPIO pins : PB0 PB3 */
  GPIO_InitStruct.Pin = GPIO_PIN_0|GPIO_PIN_3;
  GPIO_InitStruct.Mode = GPIO_MODE_OUTPUT_PP;
  GPIO_InitStruct.Pull = GPIO_NOPULL;
  GPIO_InitStruct.Speed = GPIO_SPEED_FREQ_LOW;
  HAL_GPIO_Init(GPIOB, &GPIO_InitStruct);

/* USER CODE BEGIN MX_GPIO_Init_2 */
  /* Reset button ADC threshold read on PA5 */
  GPIO_InitStruct.Pin = RST_BTN_Pin;
  GPIO_InitStruct.Mode = GPIO_MODE_ANALOG;
  GPIO_InitStruct.Pull = GPIO_NOPULL;
  HAL_GPIO_Init(RST_BTN_GPIO_Port, &GPIO_InitStruct);

  /* Unprotected input voltage sense on PB7 (ADC1_IN11) */
  GPIO_InitStruct.Pin = GPIO_PIN_7;
  GPIO_InitStruct.Mode = GPIO_MODE_ANALOG;
  GPIO_InitStruct.Pull = GPIO_NOPULL;
  HAL_GPIO_Init(GPIOB, &GPIO_InitStruct);

  /* DS18B20 one-wire on PB0 (open-drain, released high) */
  GPIO_InitStruct.Pin = DS_Pin;
  GPIO_InitStruct.Mode = GPIO_MODE_OUTPUT_OD;
  GPIO_InitStruct.Pull = GPIO_PULLUP;
  GPIO_InitStruct.Speed = GPIO_SPEED_FREQ_LOW;
  HAL_GPIO_Init(DS_GPIO_Port, &GPIO_InitStruct);
  HAL_GPIO_WritePin(DS_GPIO_Port, DS_Pin, GPIO_PIN_SET);

  /* Buzzer on PA7 */
  GPIO_InitStruct.Pin = BUZZER_Pin;
  GPIO_InitStruct.Mode = GPIO_MODE_OUTPUT_PP;
  GPIO_InitStruct.Pull = GPIO_NOPULL;
  GPIO_InitStruct.Speed = GPIO_SPEED_FREQ_LOW;
  HAL_GPIO_Init(BUZZER_GPIO_Port, &GPIO_InitStruct);
  HAL_GPIO_WritePin(BUZZER_GPIO_Port, BUZZER_Pin, GPIO_PIN_RESET);
/* USER CODE END MX_GPIO_Init_2 */
}

void Error_Handler(void)
{
}
